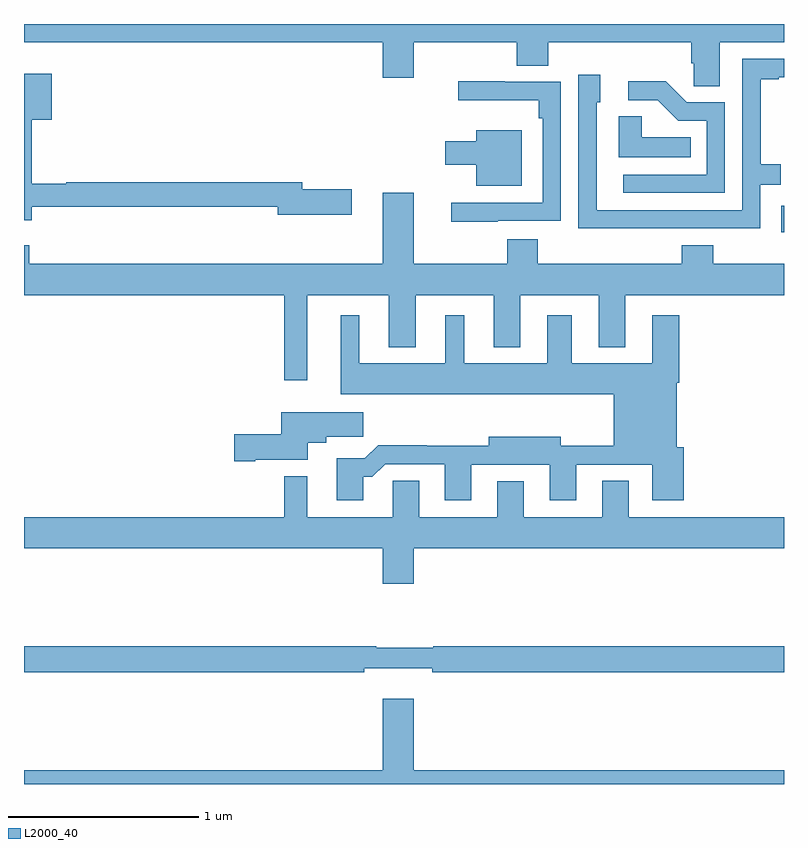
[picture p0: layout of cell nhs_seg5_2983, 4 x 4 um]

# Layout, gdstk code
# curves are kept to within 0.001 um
import gdstk
lib = gdstk.Library(unit=1e-6, precision=1e-09)
def R(c, l, rs):  # rectangles x0, y0, x1, y1
    for r in rs: c.add(gdstk.rectangle(r[:2], r[2:], *l))
def P(c, l, *ps):  # polygons
    for p in ps: c.add(gdstk.Polygon(p, *l))
L2000_40 = (2000, 40)

nhs_seg5_2983 = lib.new_cell('nhs_seg5_2983')
R(nhs_seg5_2983, L2000_40, [(286.986,911.702,287,911.842)])
P(nhs_seg5_2983, L2000_40, [(286.663,912.704),(287,912.704),(287,912.799),(283,912.799),(283,912.704),(284.888,912.704),(284.888,912.516),(285.052,912.516),(285.052,912.704),(285.593,912.704),(285.593,912.58),(285.758,912.58),(285.758,912.704),(286.511,912.704),(286.511,912.592),(286.525,912.592),(286.525,912.472),(286.663,912.472)],
  [(286.379,911.724),(286.875,911.724),(286.875,911.952),(286.984,911.952),(286.984,912.061),(286.877,912.061),(286.877,912.507),(286.972,912.507),(286.972,912.519),(287,912.519),(287,912.615),(286.779,912.615),(286.779,911.82),(286.014,911.82),(286.014,912.387),(286.033,912.387),(286.033,912.532),(285.918,912.532),(285.918,911.723),(286.379,911.723)],
  [(283.04,911.838),(284.336,911.838),(284.336,911.795),(284.725,911.795),(284.725,911.93),(284.464,911.93),(284.464,911.966),(283.223,911.966),(283.223,911.959),(283.04,911.959),(283.04,912.296),(283.147,912.296),(283.147,912.538),(283,912.538),(283,911.765),(283.04,911.765)],
  [(285.493,911.763),(285.825,911.763),(285.825,912.495),(285.529,912.495),(285.529,912.499),(285.285,912.499),(285.285,912.398),(285.709,912.398),(285.709,912.302),(285.729,912.302),(285.729,911.859),(285.249,911.859),(285.249,911.759),(285.493,911.759)],
  [(286.689,912.387),(286.488,912.387),(286.378,912.497),(286.179,912.497),(286.179,912.399),(286.335,912.399),(286.443,912.291),(286.593,912.291),(286.593,912.006),(286.155,912.006),(286.155,911.91),(286.689,911.91)],
  [(286.508,912.202),(286.252,912.202),(286.252,912.314),(286.13,912.314),(286.13,912.098),(286.508,912.098)],
  [(285.619,912.241),(285.38,912.241),(285.38,912.181),(285.216,912.181),(285.216,912.059),(285.38,912.059),(285.38,911.948),(285.619,911.948)],
  [(284.491,911.372),(284.921,911.372),(284.921,911.099),(285.061,911.099),(285.061,911.372),(285.473,911.372),(285.473,911.099),(285.613,911.099),(285.613,911.372),(286.025,911.372),(286.025,911.099),(286.165,911.099),(286.165,911.372),(287,911.372),(287,911.536),(286.628,911.536),(286.628,911.635),(286.463,911.635),(286.463,911.536),(285.704,911.536),(285.704,911.665),(285.544,911.665),(285.544,911.536),(285.052,911.536),(285.052,911.911),(284.888,911.911),(284.888,911.536),(283.028,911.536),(283.028,911.635),(283,911.635),(283,911.372),(284.37,911.372),(284.37,910.923),(284.491,910.923)],
  [(284.785,910.415),(284.834,910.415),(284.901,910.482),(285.215,910.482),(285.215,910.293),(285.355,910.293),(285.355,910.479),(285.767,910.478),(285.767,910.293),(285.907,910.293),(285.907,910.479),(286.307,910.479),(286.307,910.293),(286.472,910.293),(286.472,910.572),(286.435,910.572),(286.435,910.91),(286.448,910.91),(286.448,911.266),(286.307,911.266),(286.307,911.014),(285.883,911.014),(285.883,911.266),(285.755,911.266),(285.755,911.014),(285.316,911.014),(285.316,911.266),(285.218,911.266),(285.218,911.014),(284.764,911.014),(284.764,911.266),(284.666,911.266),(284.666,910.85),(286.103,910.85),(286.103,910.58),(285.826,910.58),(285.826,910.627),(285.446,910.627),(285.446,910.58),(285.119,910.58),(285.119,910.583),(284.864,910.583),(284.794,910.513),(284.645,910.513),(284.645,910.293),(284.785,910.293)],
  [(284.218,910.505),(284.494,910.505),(284.494,910.595),(284.59,910.595),(284.59,910.627),(284.785,910.627),(284.785,910.756),(284.354,910.756),(284.354,910.64),(284.106,910.64),(284.106,910.498),(284.218,910.498)],
  [(285.052,910.04),(287,910.04),(287,910.204),(286.183,910.204),(286.183,910.394),(286.043,910.394),(286.043,910.204),(285.631,910.204),(285.631,910.393),(285.491,910.393),(285.491,910.204),(285.079,910.204),(285.079,910.394),(284.94,910.394),(284.94,910.204),(284.491,910.204),(284.491,910.42),(284.37,910.42),(284.37,910.204),(283,910.204),(283,910.04),(284.888,910.04),(284.888,909.852),(285.052,909.852)],
  [(284.792,909.407),(285.148,909.407),(285.148,909.388),(287,909.388),(287,909.524),(285.155,909.524),(285.155,909.517),(284.855,909.517),(284.855,909.524),(283,909.524),(283,909.388),(284.792,909.388)],
  [(287,908.872),(285.052,908.872),(285.052,909.247),(284.888,909.247),(284.888,908.872),(283,908.872),(283,908.799),(287,908.799)])

lib.write_gds('nhs_seg5_2983.gds')
